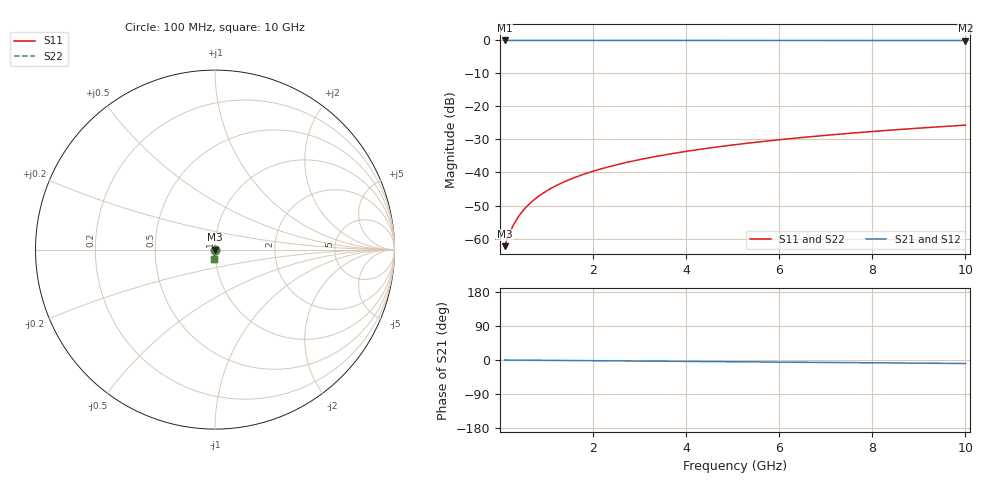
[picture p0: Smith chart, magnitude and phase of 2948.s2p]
# Hz S RI R 50.00
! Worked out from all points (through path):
!   100 points, 100 MHz to 10 GHz, reference 50 ohm
!   highest |S21| = 0.00 dB at 100 MHz (marker M1); lowest = 0.0 dB at 10 GHz (marker M2)
!   group delay of S21, straight-line fit = 2.56 ps
!   lowest |S11| = -62.3 dB at 100 MHz (marker M3), VSWR 1.00, Z = 50.1 - j0.0523 ohm
!   |S11| at or under -10 dB: start of sweep to end of sweep
!   |S22| runs from -62.3 to -25.7 dB; largest |S21 - S12| = 0
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1e8  0.00056 -0.000522  0.9994 -0.00161  0.9994 -0.00161  0.00056 -0.000522
2e8  0.00056 -0.00104  0.9994 -0.00321  0.9994 -0.00321  0.00056 -0.00104
3e8  0.000558 -0.00157  0.9994 -0.00482  0.9994 -0.00482  0.000558 -0.00157
4e8  0.000553 -0.00209  0.9994 -0.00643  0.9994 -0.00643  0.000553 -0.00209
5e8  0.000547 -0.00261  0.9994 -0.00803  0.9994 -0.00803  0.000547 -0.00261
6e8  0.000538 -0.00313  0.9994 -0.00964  0.9994 -0.00964  0.000538 -0.00313
7e8  0.000528 -0.00366  0.9993 -0.0112  0.9993 -0.0112  0.000528 -0.00366
9e8  0.000502 -0.0047  0.9993 -0.0145  0.9993 -0.0145  0.000502 -0.0047
1e9  0.000486 -0.00522  0.9993 -0.0161  0.9993 -0.0161  0.000486 -0.00522
1.2e9  0.000449 -0.00627  0.9992 -0.0193  0.9992 -0.0193  0.000449 -0.00627
1.5e9  0.000382 -0.00784  0.9991 -0.0241  0.9991 -0.0241  0.000382 -0.00784
1.8e9  0.000298 -0.0094  0.9989 -0.0289  0.9989 -0.0289  0.000298 -0.0094
2.1e9  0.0002 -0.011  0.9988 -0.0337  0.9988 -0.0337  0.0002 -0.011
2.5e9  4.48e-05 -0.0131  0.9985 -0.0402  0.9985 -0.0402  4.48e-05 -0.0131
2.9e9  -0.000137 -0.0151  0.9982 -0.0466  0.9982 -0.0466  -0.000137 -0.0151
3.4e9  -0.000403 -0.0177  0.9977 -0.0546  0.9977 -0.0546  -0.000403 -0.0177
4.2e9  -0.000916 -0.0219  0.9968 -0.0675  0.9968 -0.0675  -0.000916 -0.0219
5.1e9  -0.00162 -0.0266  0.9956 -0.0819  0.9956 -0.0819  -0.00162 -0.0266
5.9e9  -0.00236 -0.0307  0.9943 -0.0947  0.9943 -0.0947  -0.00236 -0.0307
6.7e9  -0.00321 -0.0348  0.9929 -0.1075  0.9929 -0.1075  -0.00321 -0.0348
8.4e9  -0.00536 -0.0435  0.9892 -0.1347  0.9892 -0.1347  -0.00536 -0.0435
1e10  -0.00782 -0.0515  0.985 -0.1601  0.985 -0.1601  -0.00782 -0.0515
